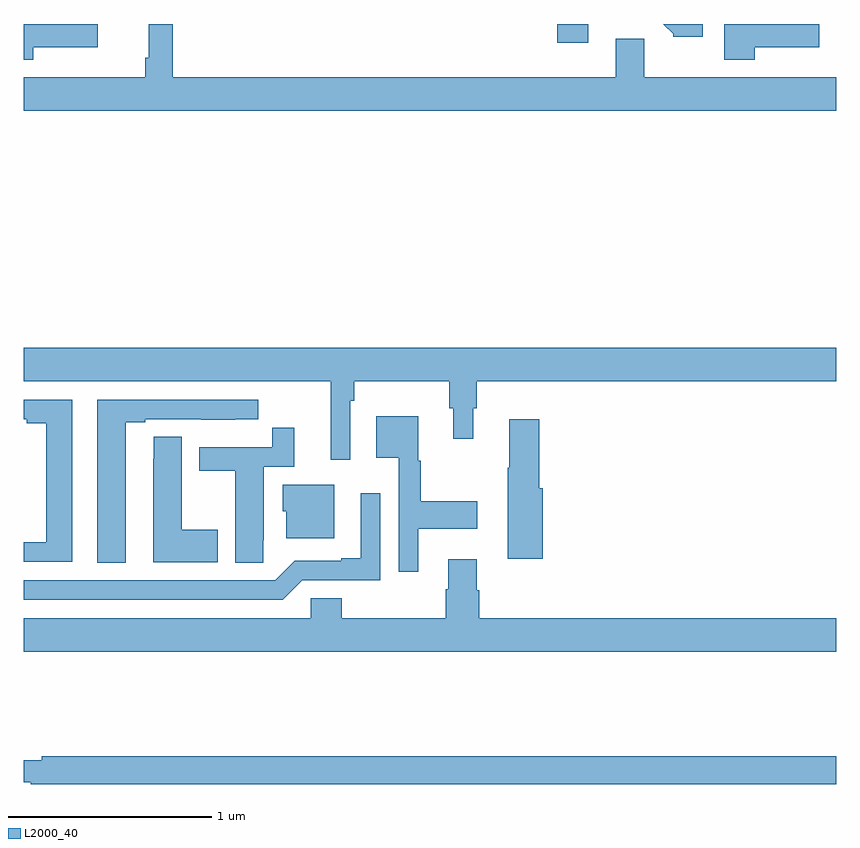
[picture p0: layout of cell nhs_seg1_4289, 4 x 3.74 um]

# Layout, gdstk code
import gdstk
lib = gdstk.Library(unit=1e-6, precision=1e-09)
def R(c, l, rs):  # rectangles x0, y0, x1, y1
    for r in rs: c.add(gdstk.rectangle(r[:2], r[2:], *l))
def P(c, l, *ps):  # polygons
    for p in ps: c.add(gdstk.Polygon(p, *l))
L2000_40 = (2000, 40)

nhs_seg1_4289 = lib.new_cell('nhs_seg1_4289')
R(nhs_seg1_4289, L2000_40, [(347.627,512.106,347.779,512.199)])
P(nhs_seg1_4289, L2000_40, [(345.047,512.084),(345.364,512.084),(345.364,512.199),(345,512.199),(345,512.022),(345.047,512.022)],
  [(348.599,512.084),(348.916,512.084),(348.916,512.199),(348.45,512.199),(348.45,512.022),(348.599,512.022)],
  [(348.343,512.199),(348.149,512.199),(348.198,512.15),(348.198,512.135),(348.343,512.135)],
  [(347.915,512.126),(347.915,511.936),(345.734,511.936),(345.734,512.199),(345.616,512.199),(345.616,512.032),(345.598,512.032),(345.598,511.936),(345,511.936),(345,511.772),(349,511.772),(349,511.936),(348.055,511.936),(348.055,512.126)],
  [(346.608,510.344),(346.628,510.344),(346.628,510.44),(347.095,510.44),(347.095,510.306),(347.114,510.306),(347.114,510.156),(347.212,510.156),(347.212,510.306),(347.231,510.306),(347.231,510.44),(349,510.44),(349,510.604),(345,510.604),(345,510.44),(346.511,510.44),(346.511,510.054),(346.608,510.054)],
  [(345.502,510.237),(345.598,510.237),(345.598,510.252),(345.874,510.252),(345.874,510.251),(346.04,510.251),(346.04,510.252),(346.153,510.252),(346.153,510.348),(345.362,510.348),(345.362,509.545),(345.502,509.545)],
  [(345.238,510.348),(345,510.348),(345,510.252),(345.014,510.252),(345.014,510.232),(345.11,510.232),(345.11,509.646),(345,509.646),(345,509.55),(345.238,509.55)],
  [(346.942,509.714),(347.233,509.714),(347.233,509.849),(346.954,509.849),(346.954,510.048),(346.942,510.048),(346.942,510.268),(346.736,510.268),(346.736,510.062),(346.845,510.062),(346.845,509.502),(346.942,509.502)],
  [(347.555,509.913),(347.537,509.913),(347.537,510.253),(347.39,510.253),(347.39,510.013),(347.384,510.013),(347.384,509.565),(347.555,509.565)],
  [(346.179,509.656),(346.18,509.656),(346.18,510.018),(346.331,510.018),(346.331,510.211),(346.222,510.211),(346.222,510.114),(345.863,510.114),(345.863,509.998),(346.04,509.998),(346.04,509.545),(346.179,509.545)],
  [(345.955,509.709),(345.778,509.709),(345.778,510.167),(345.639,510.167),(345.639,510.059),(345.638,510.059),(345.638,509.549),(345.955,509.549)],
  [(346.528,509.929),(346.274,509.929),(346.274,509.799),(346.292,509.799),(346.292,509.666),(346.528,509.666)],
  [(346.371,509.46),(346.755,509.46),(346.755,509.887),(346.658,509.887),(346.658,509.569),(346.562,509.569),(346.562,509.556),(346.335,509.556),(346.239,509.46),(345,509.46),(345,509.364),(346.275,509.364)],
  [(347.09,509.563),(347.09,509.414),(347.078,509.414),(347.078,509.272),(346.565,509.272),(346.565,509.37),(346.413,509.37),(346.413,509.272),(345,509.272),(345,509.108),(349,509.108),(349,509.272),(347.243,509.272),(347.243,509.409),(347.23,509.409),(347.23,509.563)],
  [(349,508.592),(345.088,508.592),(345.088,508.573),(345,508.573),(345,508.464),(345.034,508.464),(345.034,508.456),(349,508.456)])

lib.write_gds('nhs_seg1_4289.gds')
